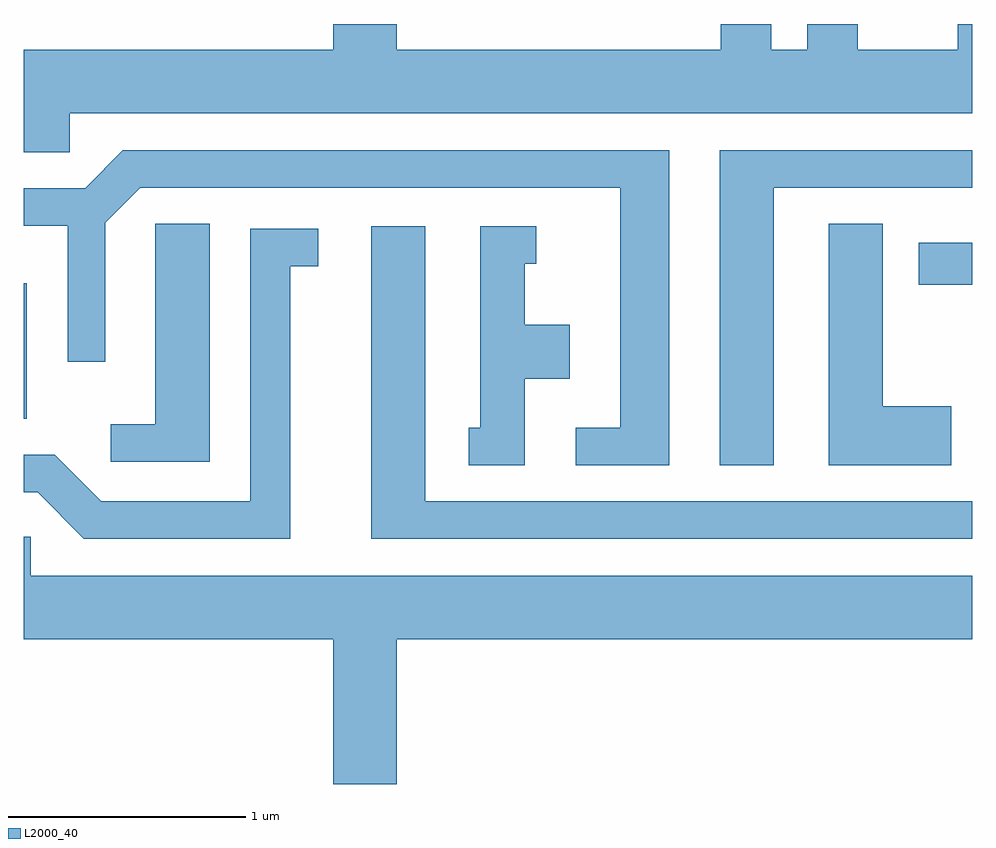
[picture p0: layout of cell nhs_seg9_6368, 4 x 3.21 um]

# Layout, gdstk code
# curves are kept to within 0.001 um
import gdstk
lib = gdstk.Library(unit=1e-6, precision=1e-09)
def R(c, l, rs):  # rectangles x0, y0, x1, y1
    for r in rs: c.add(gdstk.rectangle(r[:2], r[2:], *l))
def P(c, l, *ps):  # polygons
    for p in ps: c.add(gdstk.Polygon(p, *l))
L2000_40 = (2000, 40)

nhs_seg9_6368 = lib.new_cell('nhs_seg9_6368')
R(nhs_seg9_6368, L2000_40, [(373.611,1972.766,373.624,1973.339), (377.386,1973.331,377.611,1973.509)])
P(nhs_seg9_6368, L2000_40, [(373.804,1974.056),(377.611,1974.056),(377.611,1974.432),(377.551,1974.432),(377.551,1974.324),(377.129,1974.324),(377.129,1974.432),(376.916,1974.432),(376.916,1974.324),(376.764,1974.324),(376.764,1974.432),(376.551,1974.432),(376.551,1974.324),(375.184,1974.324),(375.184,1974.432),(374.916,1974.432),(374.916,1974.324),(373.611,1974.324),(373.611,1973.891),(373.804,1973.891)],
  [(376.334,1973.899),(374.029,1973.899),(373.869,1973.739),(373.611,1973.739),(373.611,1973.581),(373.796,1973.581),(373.796,1973.008),(373.954,1973.008),(373.954,1973.594),(374.102,1973.741),(376.126,1973.741),(376.126,1972.729),(375.938,1972.729),(375.938,1972.571),(376.334,1972.571)],
  [(376.774,1973.741),(377.611,1973.741),(377.611,1973.899),(376.546,1973.899),(376.546,1972.571),(376.774,1972.571)],
  [(377.524,1972.819),(377.234,1972.819),(377.234,1973.589),(377.006,1973.589),(377.006,1972.571),(377.524,1972.571)],
  [(374.394,1973.589),(374.166,1973.589),(374.166,1972.744),(373.978,1972.744),(373.978,1972.586),(374.394,1972.586)],
  [(377.611,1972.419),(375.304,1972.419),(375.304,1973.579),(375.076,1973.579),(375.076,1972.261),(377.611,1972.261)],
  [(375.724,1972.936),(375.914,1972.936),(375.914,1973.164),(375.724,1973.164),(375.724,1973.421),(375.773,1973.421),(375.773,1973.579),(375.536,1973.579),(375.536,1972.729),(375.488,1972.729),(375.488,1972.571),(375.724,1972.571)],
  [(374.734,1973.411),(374.853,1973.411),(374.853,1973.569),(374.566,1973.569),(374.566,1972.419),(373.937,1972.419),(373.742,1972.614),(373.611,1972.614),(373.611,1972.456),(373.669,1972.456),(373.864,1972.261),(374.734,1972.261)],
  [(375.184,1971.836),(377.611,1971.836),(377.611,1972.104),(373.639,1972.104),(373.639,1972.269),(373.611,1972.269),(373.611,1971.836),(374.916,1971.836),(374.916,1971.226),(375.184,1971.226)])

lib.write_gds('nhs_seg9_6368.gds')
